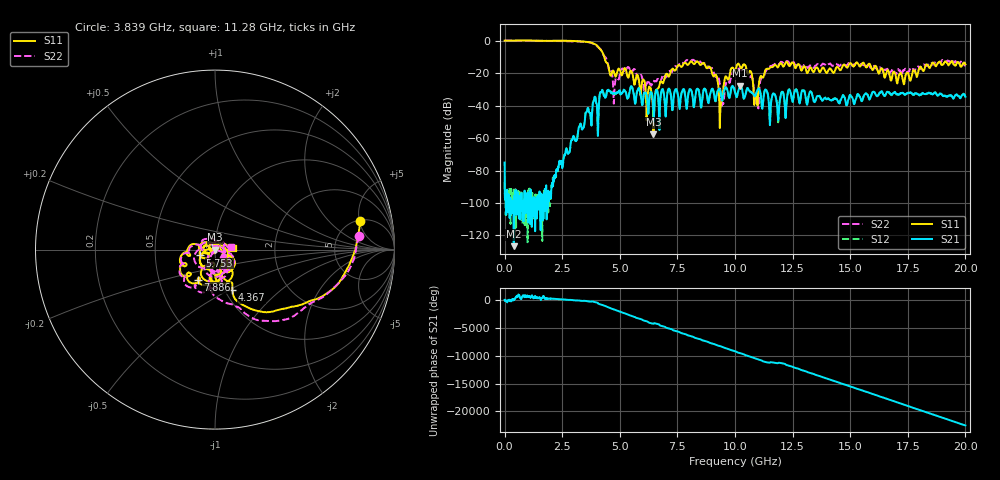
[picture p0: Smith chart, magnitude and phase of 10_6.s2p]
#  HZ  S  RI  R  50.00
! Rohde & Schwarz Vector Network Analyzer
! Rohde-Schwarz,ZNB20-2Port,1311601062102128,3.60
! Created: UTC 4/29/2024, 2:55:49 PM
! freq[Hz]  re:S11  im:S11  re:S21  im:S21  re:S12  im:S12  re:S22  im:S22
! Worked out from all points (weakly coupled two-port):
!   2007 points, 100 kHz to 20 GHz, reference 50 ohm
!   highest |S21| = -27.74 dB at 10.22 GHz (marker M1); lowest = -126.6 dB at 398.9 MHz (marker M2)
!   lowest |S11| = -57.6 dB at 6.461 GHz (marker M3), VSWR 1.00, Z = 50.1 + j0.0183 ohm
!   |S11| at or under -10 dB: 4.326 GHz to end of sweep
!   |S22| runs from -41.8 to 0.1 dB; largest |S21 - S12| = 0.0022
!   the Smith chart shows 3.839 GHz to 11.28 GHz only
!   S11 on the Smith chart (normalised r, x): 3.839 GHz: 5.15, +5.18; 4.367 GHz: 1.08, -0.52; 5.753 GHz: 0.85, -0.06; 7.886 GHz: 0.78, -0.27; 11.28 GHz: 1.22, +0.02
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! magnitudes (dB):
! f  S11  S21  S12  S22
! 100 kHz  0.0  -75.1  -87.2  0.1
! 398.9 MHz  0.0  -126.6  -91.7  0.0
! 2.223 GHz  -0.1  -82.7  -82.7  -0.3
! 3.34 GHz  -0.6  -53.9  -53.6  -0.6
! 3.839 GHz  -1.7  -38.1  -37.5  -1.9
! 4.367 GHz  -12.1  -35.2  -34.8  -10.1
! 4.776 GHz  -20.8  -32.3  -32.5  -28.7
! 5.753 GHz  -21.0  -31.4  -31.3  -22.7
! 6.461 GHz  -57.6  -45.6  -45.3  -24.7
! 6.67 GHz  -29.2  -35.2  -35.1  -23.6
! 7.886 GHz  -14.2  -40.6  -40.5  -12.2
! 8.903 GHz  -16.2  -33.9  -34.0  -16.9
! 9.392 GHz  -39.1  -33.4  -33.4  -35.6
! 9.591 GHz  -22.0  -28.7  -28.7  -27.6
! 10 GHz  -18.6  -31.7  -31.7  -19.7
! 10.22 GHz  -16.0  -27.7  -27.7  -17.0
! 10.68 GHz  -18.9  -31.6  -31.6  -22.1
! 10.91 GHz  -33.3  -32.7  -32.9  -35.3
! 11.28 GHz  -20.2  -31.6  -31.6  -21.1
! 13.34 GHz  -18.0  -32.9  -32.8  -15.2
! 16.67 GHz  -19.1  -31.9  -31.8  -20.6
! 20 GHz  -14.6  -34.6  -34.7  -14.4
